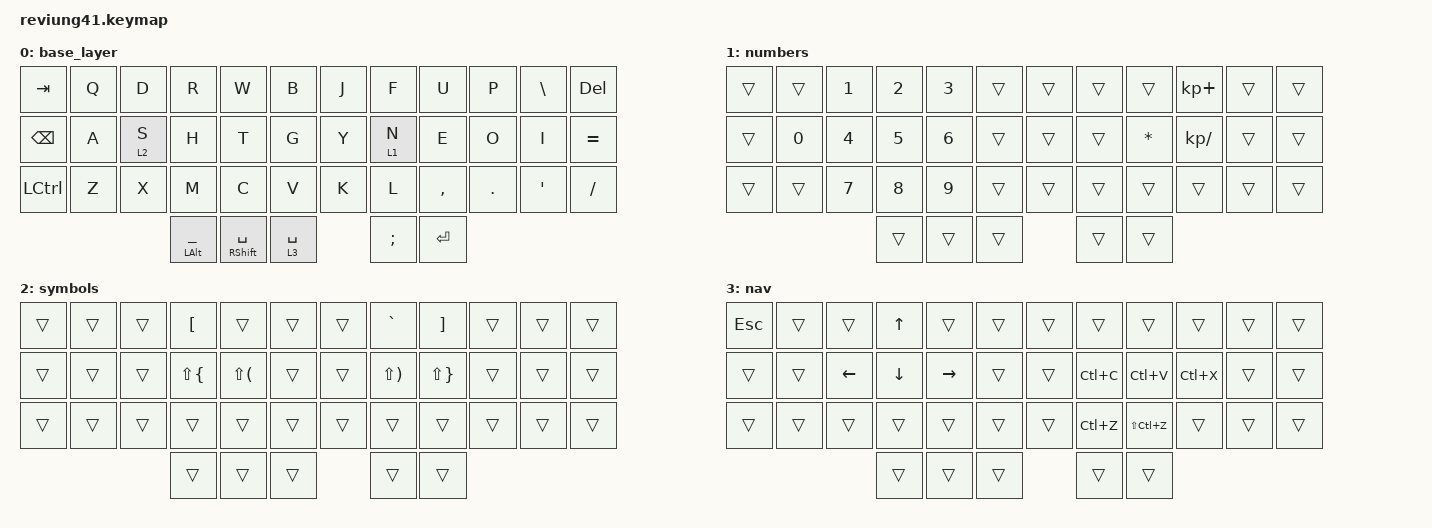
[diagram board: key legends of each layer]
/*
 * Copyright (c) 2020 The ZMK Contributors
 *
 * SPDX-License-Identifier: MIT
 */

#include <behaviors.dtsi>
#include <dt-bindings/zmk/keys.h>

/ {
    keymap {
        compatible = "zmk,keymap";

        base_layer {
            // -------------------------------------------------------------------------------------
            // |  TAB |  Q  |  D  |  R  |  W  |  B  |   |  J  |  F   |  U  |  P  |  \  |   DEL    |
            // | BSPC |  A  |  S  |  H  |  T  |  G  |   |  Y  |  N   |  E  |  O  |  I  |    =      |
            // | CTRL |  Z  |  X  |  M  |  C  |  V  |   |  K  |  L   |  ,  |  .  |  '  | / |
            //                         | ALT | LWR | SPC | RSE  | ALT |

            bindings = <
&kp TAB    &kp Q  &kp D    &kp R                    &kp W            &kp B               &kp J  &kp F          &kp U      &kp P    &kp BSLH  &kp DEL
&kp BSPC   &kp A  &lt 2 S  &kp H                    &kp T            &kp G               &kp Y  &lt 1 N        &kp E      &kp O    &kp I     &kp EQUAL
&kp LCTRL  &kp Z  &kp X    &kp M                    &kp C            &kp V               &kp K  &kp L          &kp COMMA  &kp DOT  &kp SQT   &kp SLASH
                           &mt LEFT_ALT UNDERSCORE  &mt RSHFT SPACE         &lt 3 SPACE         &kp SEMICOLON  &kp ENTER
            >;
        };

        numbers {
            bindings = <
&trans  &trans  &kp NUMBER_1  &kp NUMBER_2  &kp NUMBER_3  &trans          &trans  &trans  &trans        &kp KP_PLUS    &trans  &trans
&trans  &kp N0  &kp NUMBER_4  &kp N5        &kp NUMBER_6  &trans          &trans  &trans  &kp ASTERISK  &kp KP_DIVIDE  &trans  &trans
&trans  &trans  &kp N7        &kp N8        &kp N9        &trans          &trans  &trans  &trans        &trans         &trans  &trans
                              &trans        &trans                &trans          &trans  &trans
            >;
        };

        symbols {
            bindings = <
&trans  &trans  &trans  &kp LBKT      &trans        &trans          &trans  &kp GRAVE     &kp RBKT      &trans  &trans  &trans
&trans  &trans  &trans  &kp LS(LBRC)  &kp LS(LPAR)  &trans          &trans  &kp LS(RPAR)  &kp LS(RBRC)  &trans  &trans  &trans
&trans  &trans  &trans  &trans        &trans        &trans          &trans  &trans        &trans        &trans  &trans  &trans
                        &trans        &trans                &trans          &trans        &trans
            >;
        };

        nav {
            bindings = <
&kp ESCAPE  &trans  &trans    &kp UP    &trans     &trans          &trans  &trans     &trans         &trans     &trans  &trans
&trans      &trans  &kp LEFT  &kp DOWN  &kp RIGHT  &trans          &trans  &kp LC(C)  &kp LC(V)      &kp LC(X)  &trans  &trans
&trans      &trans  &trans    &trans    &trans     &trans          &trans  &kp LC(Z)  &kp LS(LC(Z))  &trans     &trans  &trans
                              &trans    &trans             &trans          &trans     &trans
            >;
        };
    };
};
